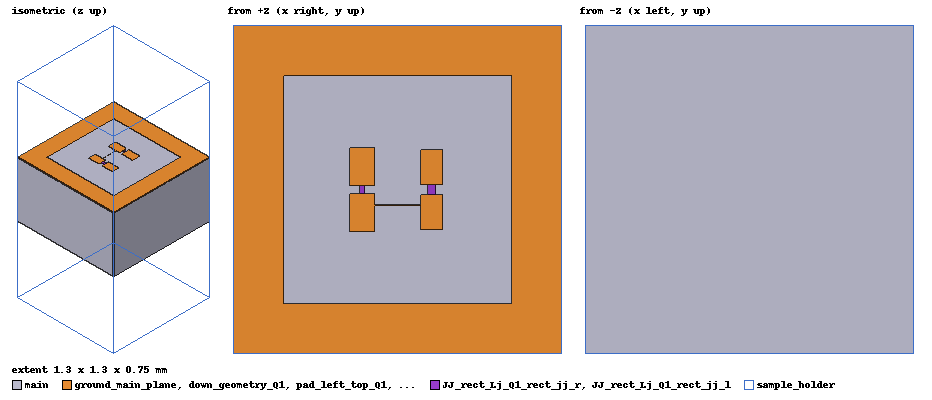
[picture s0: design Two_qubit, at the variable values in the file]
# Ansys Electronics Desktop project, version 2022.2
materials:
  vacuum: permittivity=1
  silicon: permittivity=11.9
  Material1
  sapphire: permittivity=10

design Two_qubit (HFSS, Eigenmode, model units mm)
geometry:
  pad_left_top_Q1 = rectangle(corner=(-0.00019, 1.5e-05, 0), x_size=0.0001, y_size=0.00015)
  pad_right_top_Q1 = rectangle(corner=(9e-05, 2e-05, 0), x_size=9e-05, y_size=0.00014)
  down_geometry_Q1 = polyline(z=0, xy: (9e-05, -2e-05) (0.00018, -2e-05) (0.00018, -0.00016) (9e-05, -0.00016) (9e-05, -6.25e-05) (-9e-05, -6.25e-05) (-9e-05, -0.000165) (-0.00019, -0.000165) (-0.00019, -1.5e-05) (-9e-05, -1.5e-05) (-9e-05, -5.75e-05) (9e-05, -5.75e-05) (9e-05, -2e-05), closed, covered)
  rect_pk_Q1 = rectangle(corner=(-0.00045, -0.00045, 0), x_size=0.0009, y_size=0.0009)
  JJ_rect_Lj_Q1_rect_jj_l = rectangle(corner=(-0.00015, -1.5e-05, 0), x_size=2e-05, y_size=3e-05)
  jj_left = polyline((-0.00014, -1.5e-05, 0) (-0.00014, 1.5e-05, 0))
  JJ_rect_Lj_Q1_rect_jj_r = rectangle(corner=(0.00012, -2e-05, 0), x_size=3e-05, y_size=4e-05)
  jj_right = polyline((0.000135, -2e-05, 0) (0.000135, 2e-05, 0))
  ground_main_plane = rectangle(corner=(-0.00065, -0.00065, 0), x_size=0.0013, y_size=0.0013)
  main [sapphire] = box(corner=(-0.00065, -0.00065, -0.00075), size=(0.0013, 0.0013, 0.00075))
  sample_holder [vacuum] = box(corner=(-0.00065, -0.00065, -0.00165), size=(0.0013, 0.0013, 0.00254))
  ground_main_plane.subtract(rect_pk_Q1)
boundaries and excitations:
  Lj_Lj_Q1_rect_jj_l: Lumped RLC Objects=JJ_rect_Lj_Q1_rect_jj_l CurrentLine{(-0.14, -0.015, 0) -> (-0.14, 0.015, 0)} RLC_Type=Parallel Inductance=10nH
  Lj_Lj_Q1_rect_jj_r: Lumped RLC Objects=JJ_rect_Lj_Q1_rect_jj_r CurrentLine{(0.135, -0.02, 0) -> (0.135, 0.02, 0)} RLC_Type=Parallel Inductance=10nH
  PerfE: Perfect E Objects=[pad_left_top_Q1, pad_right_top_Q1, down_geometry_Q1, ground_main_plane]
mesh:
  small_mesh: LengthBased Objects=[JJ_rect_Lj_Q1_rect_jj_l, JJ_rect_Lj_Q1_rect_jj_r] MaxLength=7um
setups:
  Setup: HfssEigen MinimumFrequency=1GHz NumModes=3 MaxDeltaFreq=0.1 ConvergeOnRealFreq=true MaximumPasses=20 MinimumPasses=1 MinimumConvergedPasses=1 PercentRefinement=30 BasisOrder=-1
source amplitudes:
  #-10:1: 1 0deg
  #-10:2, #-10:3: 0 0deg
